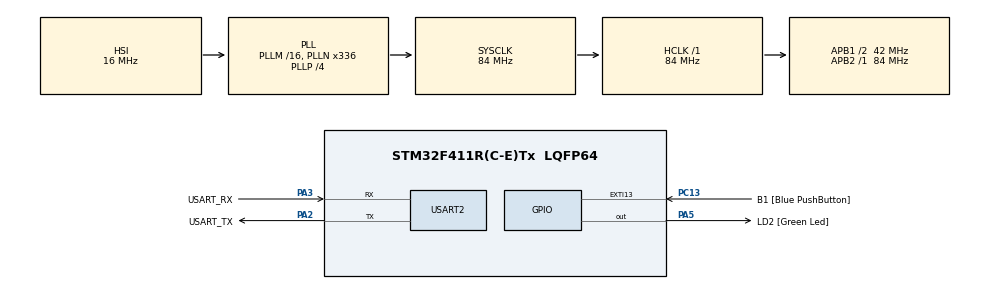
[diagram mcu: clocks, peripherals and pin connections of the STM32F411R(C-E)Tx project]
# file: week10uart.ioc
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Mcu.Family=STM32F4
Mcu.Name=STM32F411R(C-E)Tx
Mcu.Package=LQFP64
NVIC.PriorityGroup=NVIC_PRIORITYGROUP_0
NVIC.USART2_IRQn=true\:0\:0\:false\:false\:true\:true\:true
PA13.GPIO_Label=TMS
PA13.Mode=Serial_Wire
PA13.Signal=SYS_JTMS-SWDIO
PA14.GPIO_Label=TCK
PA14.Mode=Serial_Wire
PA14.Signal=SYS_JTCK-SWCLK
PA2.GPIO_Label=USART_TX
PA2.Mode=Asynchronous
PA2.Signal=USART2_TX
PA3.GPIO_Label=USART_RX
PA3.Mode=Asynchronous
PA3.Signal=USART2_RX
PA5.GPIO_Label=LD2 [Green Led]
PA5.Signal=GPIO_Output
PB3.GPIO_Label=SWO
PB3.Signal=SYS_JTDO-SWO
PC13-ANTI_TAMP.GPIO_Label=B1 [Blue PushButton]
PC13-ANTI_TAMP.GPIO_ModeDefaultEXTI=GPIO_MODE_IT_FALLING
PC13-ANTI_TAMP.Signal=GPXTI13
PC14-OSC32_IN.Mode=LSE-External-Oscillator
PC14-OSC32_IN.Signal=RCC_OSC32_IN
PC15-OSC32_OUT.Mode=LSE-External-Oscillator
PC15-OSC32_OUT.Signal=RCC_OSC32_OUT
PH0\ -\ OSC_IN.Mode=HSE-External-Clock-Source
PH0\ -\ OSC_IN.Signal=RCC_OSC_IN
PH1\ -\ OSC_OUT.Mode=HSE-External-Clock-Source
PH1\ -\ OSC_OUT.Signal=RCC_OSC_OUT
ProjectManager.HeapSize=0x200
ProjectManager.StackSize=0x400
ProjectManager.TargetToolchain=STM32CubeIDE
RCC.48MHZClocksFreq_Value=84000000
RCC.AHBFreq_Value=84000000
RCC.APB1CLKDivider=RCC_HCLK_DIV2
RCC.APB1Freq_Value=42000000
RCC.APB1TimFreq_Value=84000000
RCC.APB2Freq_Value=84000000
RCC.APB2TimFreq_Value=84000000
RCC.CortexFreq_Value=84000000
RCC.FLatency-AdvancedSettings=FLASH_LATENCY_2
RCC.HCLKFreq_Value=84000000
RCC.HSE_VALUE=8000000
RCC.HSI_VALUE=16000000
RCC.PLLN=336
RCC.PLLP=RCC_PLLP_DIV4
RCC.SYSCLKFreq_VALUE=84000000
RCC.SYSCLKSource=RCC_SYSCLKSOURCE_PLLCLK
RCC.VCOOutputFreq_Value=336000000
USART2.VirtualMode=VM_ASYNC
board=NUCLEO-F411RE

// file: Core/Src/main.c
/* USER CODE BEGIN Header */
/**
 ******************************************************************************
 * @file           : main.c
 * @brief          : Main program body
 ******************************************************************************
 * @attention
 *
 * <h2><center>&copy; Copyright (c) 2021 STMicroelectronics.
 * All rights reserved.</center></h2>
 *
 * This software component is licensed by ST under BSD 3-Clause license,
 * the "License"; You may not use this file except in compliance with the
 * License. You may obtain a copy of the License at:
 *                        opensource.org/licenses/BSD-3-Clause
 *
 ******************************************************************************
 */
/* USER CODE END Header */
#include "main.h"

/* USER CODE BEGIN Includes */
#include <stdio.h>
#include <string.h>
/* USER CODE END Includes */

UART_HandleTypeDef huart2;

/* USER CODE BEGIN PV */
char TxDataBuffer[32] =
{ 0 };
char RxDataBuffer[32] =
{ 0 };
/* USER CODE END PV */

void SystemClock_Config(void);
static void MX_GPIO_Init(void);
static void MX_USART2_UART_Init(void);
/* USER CODE BEGIN PFP */
void UARTRecieveAndResponsePolling();
int16_t UARTRecieveIT();
/* USER CODE END PFP */

int main(void)
{

  /* MCU Configuration--------------------------------------------------------*/

  /* Reset of all peripherals, Initializes the Flash interface and the Systick. */
  HAL_Init();

  /* Configure the system clock */
  SystemClock_Config();

  /* Initialize all configured peripherals */
  MX_GPIO_Init();
  MX_USART2_UART_Init();
  /* USER CODE BEGIN 2 */
  {
  char temp[]="HELLO WORLD\r\n please type something to test UART\r\n";
  HAL_UART_Transmit(&huart2, (uint8_t*)temp, strlen(temp),1000);
  }
  /* USER CODE END 2 */

  /* Infinite loop */
  /* USER CODE BEGIN WHILE */
	while (1)
	{
		/*Method 1 Polling Mode*/

//		UARTRecieveAndResponsePolling();

		/*Method 2 Interrupt Mode*/
//		HAL_UART_Receive_IT(&huart2,  (uint8_t*)RxDataBuffer, 32);

		/*Method 2 W/ 1 Char Received*/
//		int16_t inputchar = UARTRecieveIT();
//		if(inputchar!=-1)
//		{

//			sprintf(TxDataBuffer, "ReceivedChar:[%c]\r\n", inputchar);
//			HAL_UART_Transmit(&huart2, (uint8_t*)TxDataBuffer, strlen(TxDataBuffer), 1000);
//		}

		/*This section just simmulate Work Load*/
		HAL_Delay(100);
		HAL_GPIO_TogglePin(LD2_GPIO_Port, LD2_Pin);
    /* USER CODE END WHILE */

	}
}

void SystemClock_Config(void)
{
  RCC_OscInitTypeDef RCC_OscInitStruct = {0};
  RCC_ClkInitTypeDef RCC_ClkInitStruct = {0};

  /** Configure the main internal regulator output voltage
  */
  __HAL_RCC_PWR_CLK_ENABLE();
  __HAL_PWR_VOLTAGESCALING_CONFIG(PWR_REGULATOR_VOLTAGE_SCALE1);
  /** Initializes the RCC Oscillators according to the specified parameters
  * in the RCC_OscInitTypeDef structure.
  */
  RCC_OscInitStruct.OscillatorType = RCC_OSCILLATORTYPE_HSI;
  RCC_OscInitStruct.HSIState = RCC_HSI_ON;
  RCC_OscInitStruct.HSICalibrationValue = RCC_HSICALIBRATION_DEFAULT;
  RCC_OscInitStruct.PLL.PLLState = RCC_PLL_ON;
  RCC_OscInitStruct.PLL.PLLSource = RCC_PLLSOURCE_HSI;
  RCC_OscInitStruct.PLL.PLLM = 16;
  RCC_OscInitStruct.PLL.PLLN = 336;
  RCC_OscInitStruct.PLL.PLLP = RCC_PLLP_DIV4;
  RCC_OscInitStruct.PLL.PLLQ = 4;
  if (HAL_RCC_OscConfig(&RCC_OscInitStruct) != HAL_OK)
  {
    Error_Handler();
  }
  /** Initializes the CPU, AHB and APB buses clocks
  */
  RCC_ClkInitStruct.ClockType = RCC_CLOCKTYPE_HCLK|RCC_CLOCKTYPE_SYSCLK
                              |RCC_CLOCKTYPE_PCLK1|RCC_CLOCKTYPE_PCLK2;
  RCC_ClkInitStruct.SYSCLKSource = RCC_SYSCLKSOURCE_PLLCLK;
  RCC_ClkInitStruct.AHBCLKDivider = RCC_SYSCLK_DIV1;
  RCC_ClkInitStruct.APB1CLKDivider = RCC_HCLK_DIV2;
  RCC_ClkInitStruct.APB2CLKDivider = RCC_HCLK_DIV1;

  if (HAL_RCC_ClockConfig(&RCC_ClkInitStruct, FLASH_LATENCY_2) != HAL_OK)
  {
    Error_Handler();
  }
}

static void MX_USART2_UART_Init(void)
{

  huart2.Instance = USART2;
  huart2.Init.BaudRate = 115200;
  huart2.Init.WordLength = UART_WORDLENGTH_8B;
  huart2.Init.StopBits = UART_STOPBITS_1;
  huart2.Init.Parity = UART_PARITY_NONE;
  huart2.Init.Mode = UART_MODE_TX_RX;
  huart2.Init.HwFlowCtl = UART_HWCONTROL_NONE;
  huart2.Init.OverSampling = UART_OVERSAMPLING_16;
  if (HAL_UART_Init(&huart2) != HAL_OK)
  {
    Error_Handler();
  }

}

static void MX_GPIO_Init(void)
{
  GPIO_InitTypeDef GPIO_InitStruct = {0};

  /* GPIO Ports Clock Enable */
  __HAL_RCC_GPIOC_CLK_ENABLE();
  __HAL_RCC_GPIOH_CLK_ENABLE();
  __HAL_RCC_GPIOA_CLK_ENABLE();
  __HAL_RCC_GPIOB_CLK_ENABLE();

  /*Configure GPIO pin Output Level */
  HAL_GPIO_WritePin(LD2_GPIO_Port, LD2_Pin, GPIO_PIN_RESET);

  /*Configure GPIO pin : B1_Pin */
  GPIO_InitStruct.Pin = B1_Pin;
  GPIO_InitStruct.Mode = GPIO_MODE_IT_FALLING;
  GPIO_InitStruct.Pull = GPIO_NOPULL;
  HAL_GPIO_Init(B1_GPIO_Port, &GPIO_InitStruct);

  /*Configure GPIO pin : LD2_Pin */
  GPIO_InitStruct.Pin = LD2_Pin;
  GPIO_InitStruct.Mode = GPIO_MODE_OUTPUT_PP;
  GPIO_InitStruct.Pull = GPIO_NOPULL;
  GPIO_InitStruct.Speed = GPIO_SPEED_FREQ_LOW;
  HAL_GPIO_Init(LD2_GPIO_Port, &GPIO_InitStruct);

}

/* USER CODE BEGIN 4 */
void UARTRecieveAndResponsePolling()
{
	char Recieve[32]={0};

	HAL_UART_Receive(&huart2, (uint8_t*)Recieve, 32, 1000);

	sprintf(TxDataBuffer, "Received:[%s]\r\n", Recieve);
	HAL_UART_Transmit(&huart2, (uint8_t*)TxDataBuffer, strlen(TxDataBuffer), 1000);

}

int16_t UARTRecieveIT()
{
	static uint32_t dataPos =0;
	int16_t data=-1;
	if(huart2.RxXferSize - huart2.RxXferCount!=dataPos)
	{
		data=RxDataBuffer[dataPos];
		dataPos= (dataPos+1)%huart2.RxXferSize;
	}
	return data;
}

void HAL_UART_RxCpltCallback(UART_HandleTypeDef *huart)
{
	sprintf(TxDataBuffer, "Received:[%s]\r\n", RxDataBuffer);
	HAL_UART_Transmit(&huart2, (uint8_t*)TxDataBuffer, strlen(TxDataBuffer), 1000);
}
/* USER CODE END 4 */

void Error_Handler(void)
{
	__disable_irq();
	while (1)
	{
	}
}

/************************ (C) COPYRIGHT STMicroelectronics *****END OF FILE****/
